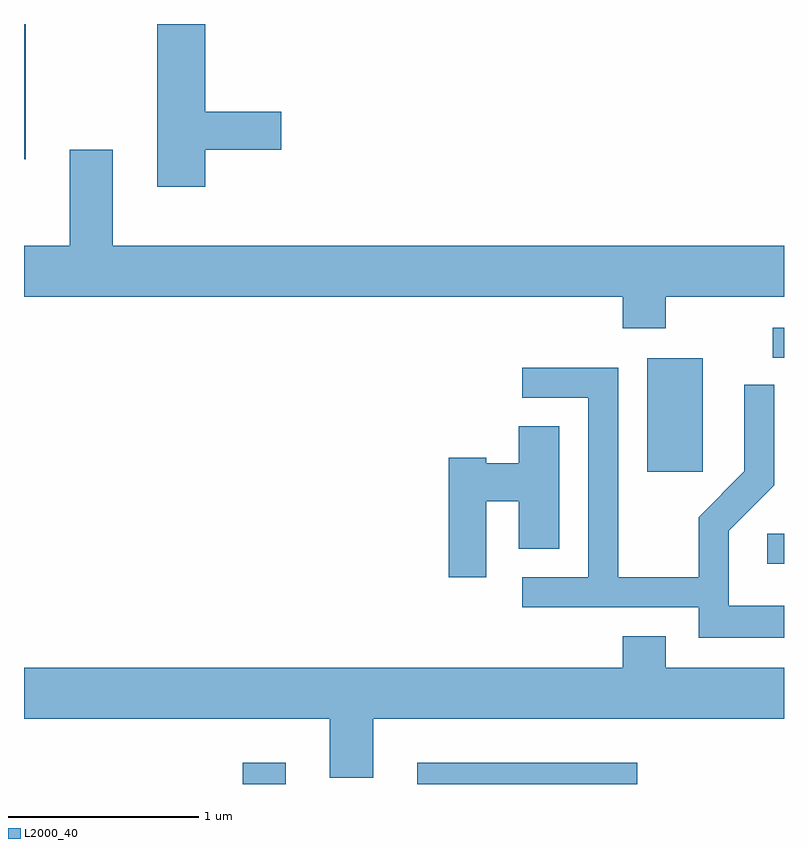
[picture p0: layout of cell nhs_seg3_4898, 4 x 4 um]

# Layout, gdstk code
import gdstk
lib = gdstk.Library(unit=1e-6, precision=1e-09)
def R(c, l, rs):  # rectangles x0, y0, x1, y1
    for r in rs: c.add(gdstk.rectangle(r[:2], r[2:], *l))
def P(c, l, *ps):  # polygons
    for p in ps: c.add(gdstk.Polygon(p, *l))
L2000_40 = (2000, 40)

nhs_seg3_4898 = lib.new_cell('nhs_seg3_4898')
R(nhs_seg3_4898, L2000_40, [(330.761,1127.892,330.989,1128.004), (331.681,1127.892,332.838,1128.004), (333.523,1129.051,333.611,1129.209), (332.891,1129.536,333.184,1130.134), (333.553,1130.136,333.611,1130.294), (329.611,1131.181,329.619,1131.892)])
P(nhs_seg3_4898, L2000_40, [(330.564,1131.231),(330.964,1131.231),(330.964,1131.429),(330.564,1131.429),(330.564,1131.892),(330.311,1131.892),(330.311,1131.036),(330.564,1131.036)],
  [(332.989,1130.456),(333.611,1130.456),(333.611,1130.724),(330.079,1130.724),(330.079,1131.229),(329.851,1131.229),(329.851,1130.724),(329.611,1130.724),(329.611,1130.456),(332.761,1130.456),(332.761,1130.291),(332.989,1130.291)],
  [(333.611,1128.829),(333.319,1128.829),(333.319,1129.224),(333.559,1129.464),(333.559,1129.993),(333.401,1129.993),(333.401,1129.537),(333.161,1129.297),(333.161,1128.979),(332.739,1128.979),(332.739,1130.084),(332.233,1130.084),(332.233,1129.926),(332.581,1129.926),(332.581,1128.979),(332.233,1128.979),(332.233,1128.821),(333.161,1128.821),(333.161,1128.661),(333.611,1128.661)],
  [(332.044,1129.381),(332.216,1129.381),(332.216,1129.131),(332.429,1129.131),(332.429,1129.774),(332.216,1129.774),(332.216,1129.579),(332.044,1129.579),(332.044,1129.609),(331.846,1129.609),(331.846,1128.981),(332.044,1128.981)],
  [(331.449,1128.236),(333.611,1128.236),(333.611,1128.504),(332.989,1128.504),(332.989,1128.669),(332.761,1128.669),(332.761,1128.504),(329.611,1128.504),(329.611,1128.236),(331.221,1128.236),(331.221,1127.926),(331.449,1127.926)])

lib.write_gds('nhs_seg3_4898.gds')
